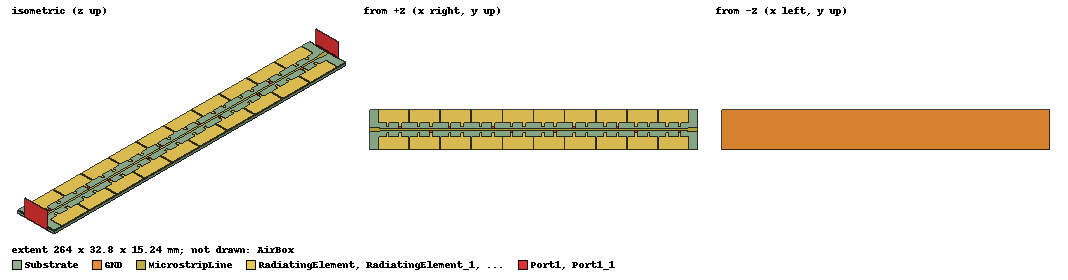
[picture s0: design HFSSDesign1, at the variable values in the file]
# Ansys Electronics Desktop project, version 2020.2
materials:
  vacuum: permittivity=1
  Taconic TLX (tm): permittivity=2.55 dielectric_loss_tangent=0.0019
  air: permittivity=1.0006 permeability=1.0000004
  copper: permeability=0.999991 conductivity=58000000

design HFSSDesign1 (HFSS, DrivenModal, model units mm)
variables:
  lc = 23mm
  wc = 9.6mm
  ls = 3mm
  ws = 2mm
  ds = 10mm
  wm = 1.5mm
  gap = 2mm
  l1 = 8mm
  w1 = 3mm
  dp = 25mm
  H = 2.54mm
  rad = 0.25mm
  spacing = 0.8mm
  edge = 0.4mm
  to_edge = 7.35mm
  to_edge_old = 6mm
  W = 264mm
  w_rec = 24.3mm
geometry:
  Substrate [Taconic TLX (tm)] = box(corner=(-132mm, -16.4mm, 0mm), size=(264mm, 32.8mm, H))
  MatchingSec1 = rectangle(corner=(132mm-l1, -w1/2, H), x_size=l1, y_size=w1)
  MatchingSec2 = MatchingSec1.duplicate_mirror(point=(0mm, 0mm, 0mm), normal=(1mm, 0mm, 0mm))
  MicrostripLine = rectangle(corner=(132mm-l1, -wm/2, H), x_size=-264mm+2*l1, y_size=wm)
  RadiatingElement = rectangle(corner=(132mm-to_edge, -16.4mm, H), x_size=-(lc+2*rad+2*edge), y_size=(16.4mm-wm/2-gap-ls))
  Rectangle2 = rectangle(corner=(132mm-to_edge-edge-rad-lc/2+ds/2-ws/2, -(wm/2+gap+ls), H), x_size=ws, y_size=ls)
  Rectangle3 = rectangle(corner=(132mm-to_edge-edge-rad-lc/2-ds/2-ws/2, -(wm/2+gap+ls), H), x_size=ws, y_size=ls)
  RadiatingElement.unite(Rectangle2, Rectangle3)
  Via [copper] = cylinder(axis=Z, base_centre=(132mm-to_edge-edge-rad, -(16.4mm-wc-edge-rad), 0mm), radius=rad, height=H)
  Via.duplicate_along_line(step=(0mm, -0.8mm, 0mm), total=13, attached)
  Cylinder1 = cylinder(axis=Z, base_centre=(132mm-to_edge-rad-edge-spacing, -(16.4mm-edge-rad), 0mm), radius=rad, height=H)
  Cylinder1.duplicate_along_line(step=(-0.8mm, 0mm, 0mm), total=29, attached)
  Cylinder2 = cylinder(axis=Z, base_centre=(132mm-to_edge-edge-rad-lc, -(16.4mm-edge-spacing-rad), 0mm), radius=rad, height=H)
  Cylinder2.duplicate_along_line(step=(0mm, 0.8mm, 0mm), total=12, attached)
  Via.unite(Cylinder2, Cylinder1)
  RadiatingElement_1 = RadiatingElement.duplicate_mirror(point=(0mm, 0mm, 0mm), normal=(0mm, 1mm, 0mm))
  Via_1 [copper] = Via.duplicate_mirror(point=(0mm, 0mm, 0mm), normal=(0mm, 1mm, 0mm))
  RadiatingElement_2..RadiatingElement_10 = RadiatingElement.duplicate_along_line(step=(-25mm, 0mm, 0mm), total=10)
  Via_2..Via_10 [copper] = Via.duplicate_along_line(step=(-25mm, 0mm, 0mm), total=10)
  RadiatingElement_1_1..RadiatingElement_1_9 = RadiatingElement_1.duplicate_along_line(step=(-25mm, 0mm, 0mm), total=10)
  Via_1_1..Via_1_9 [copper] = Via_1.duplicate_along_line(step=(-25mm, 0mm, 0mm), total=10)
  AirBox [vacuum] = box(corner=(-132mm, -16.4mm-12.5mm, -12.5mm), size=(264mm, 32.8mm+25mm, H+30mm))
  Port1 = rectangle(corner=(132mm, -3.5*w1, 0mm), y_size=7*w1, z_size=6*H)
  Port1_1 = Port1.duplicate_mirror(point=(0mm, 0mm, 0mm), normal=(1mm, 0mm, 0mm))
  MicrostripLine.unite(MatchingSec1, MatchingSec2)
  ON1 = rectangle(corner=(W/2-to_edge-(w_rec-ds-ws)/2, -2.75mm, 2.54mm), x_size=-ws, y_size=gap)
  ON2 = rectangle(corner=(W/2-to_edge-(w_rec-ds-ws)/2-dp-ds, -wm/2, 2.54mm), x_size=-ws, y_size=-gap)
  ON3 = rectangle(corner=(W/2-to_edge-(w_rec-ds-ws)/2-2*dp, wm/2, 2.54mm), x_size=-ws, y_size=gap)
  ON4 = rectangle(corner=(W/2-to_edge-(w_rec-ds-ws)/2-3*dp-ds, 2.75mm, 2.54mm), x_size=-ws, y_size=-gap)
  ON5 = rectangle(corner=(W/2-to_edge-(w_rec-ds-ws)/2-4*dp, -wm/2, 2.54mm), x_size=-ws, y_size=-gap)
  ON6 = rectangle(corner=(W/2-to_edge-(w_rec-ds-ws)/2-5*dp-ds, -2.75mm, 2.54mm), x_size=-ws, y_size=gap)
  ON7 = rectangle(corner=(W/2-to_edge-(w_rec-ds-ws)/2-6*dp, wm/2, 2.54mm), x_size=-ws, y_size=gap)
  ON8 = rectangle(corner=(W/2-to_edge-(w_rec-ds-ws)/2-7*dp-ds, 2.75mm, 2.54mm), x_size=-ws, y_size=-gap)
  ON9 = rectangle(corner=(W/2-to_edge-(w_rec-ds-ws)/2-8*dp, -wm/2, 2.54mm), x_size=-ws, y_size=-gap)
  ON10 = rectangle(corner=(W/2-to_edge-(w_rec-ds-ws)/2-9*dp, wm/2, 2.54mm), x_size=-ws, y_size=gap)
  GND = rectangle(corner=(-132mm, 16.4mm, 0mm), x_size=264mm, y_size=-32.8mm)
  group Switches = ON1..ON10
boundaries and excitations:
  PerfE1: Perfect E Objects=MicrostripLine
  PerfE2: Perfect E Objects=RadiatingElement
  PerfE3: Perfect E Objects=[RadiatingElement_1, RadiatingElement_1_1..RadiatingElement_1_9, RadiatingElement_2..RadiatingElement_10]
  PerfE4: Perfect E Objects=ON1
  PerfE5: Perfect E Objects=[ON2..ON10]
  PerfE6: Perfect E Objects=GND
  PerfE7: Perfect E Objects=[Via, Via_1, Via_1_1..Via_1_9, Via_2..Via_10]
  Rad1: Radiation Objects=AirBox
  P1: Wave Port Objects=Port1 NumModes=1 Modes{Mode1{IntLine{middle of Port1.edge(z at corner) -> middle of Port1.edge(z opposite corner)} CharImp=Zpi RenormImp=110ohm}}
  P2: Wave Port Objects=Port1_1 NumModes=1 Modes{Mode1{IntLine{middle of Port1_1.edge(1 of 4) -> middle of Port1_1.edge(3 of 4)} CharImp=Zpi RenormImp=110ohm}}
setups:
  Setup1: HfssDriven Frequency=5GHz MaxDeltaS=0.02 MaximumPasses=20 MinimumPasses=1 MinimumConvergedPasses=1 PercentRefinement=30 BasisOrder=1 PortAccuracy=2
    sweep Sweep: 4.5GHz to 5.5GHz, 21 points; Type=Fast SaveFields
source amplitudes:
  P1:1: 1W 0deg
  P2:1: 0W 0deg
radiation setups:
  E_plane: Infinite Sphere Theta=-90deg..90deg step 1deg Phi=180deg..180deg step 0deg
  H_plane: Infinite Sphere Theta=90deg..90deg step 0deg Phi=-180deg..180deg step 1deg
  Sphere: Infinite Sphere Theta=0deg..360deg step 1deg Phi=-180deg..180deg step 1deg
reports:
  S Parameter Plot 1: dB(S(P1,P1)), dB(S(P1,P2)) vs Freq on Setup1 : Sweep; markers m1 at 5GHz
  VSWR Plot 1: dB(VSWR(P1)) vs Freq on Setup1 : Sweep
  S Parameter Plot 2: dB(S(P1,P1)) vs Freq on Setup1 : Sweep
  S Parameter Chart 1: S(P1,P1) on Setup1 : Sweep [Freq=all]
  Gain Plot 1: dB(GainTotal) vs Theta on Setup1 : LastAdaptive, E_plane [Phi=all Freq=5GHz]; markers m1 at -24deg
  Gain Plot 2: dB(GainTotal) vs Phi on Setup1 : LastAdaptive, H_plane [Theta=all Freq=5GHz]
  Gain Plot 3: dB(GainTotal) vs Phi, Theta on Setup1 : LastAdaptive, Sphere [Freq=5GHz]
  Gain Plot 4: dB(GainTotal) vs Theta on Setup1 : LastAdaptive, E_plane [Phi=all Freq=5GHz]
